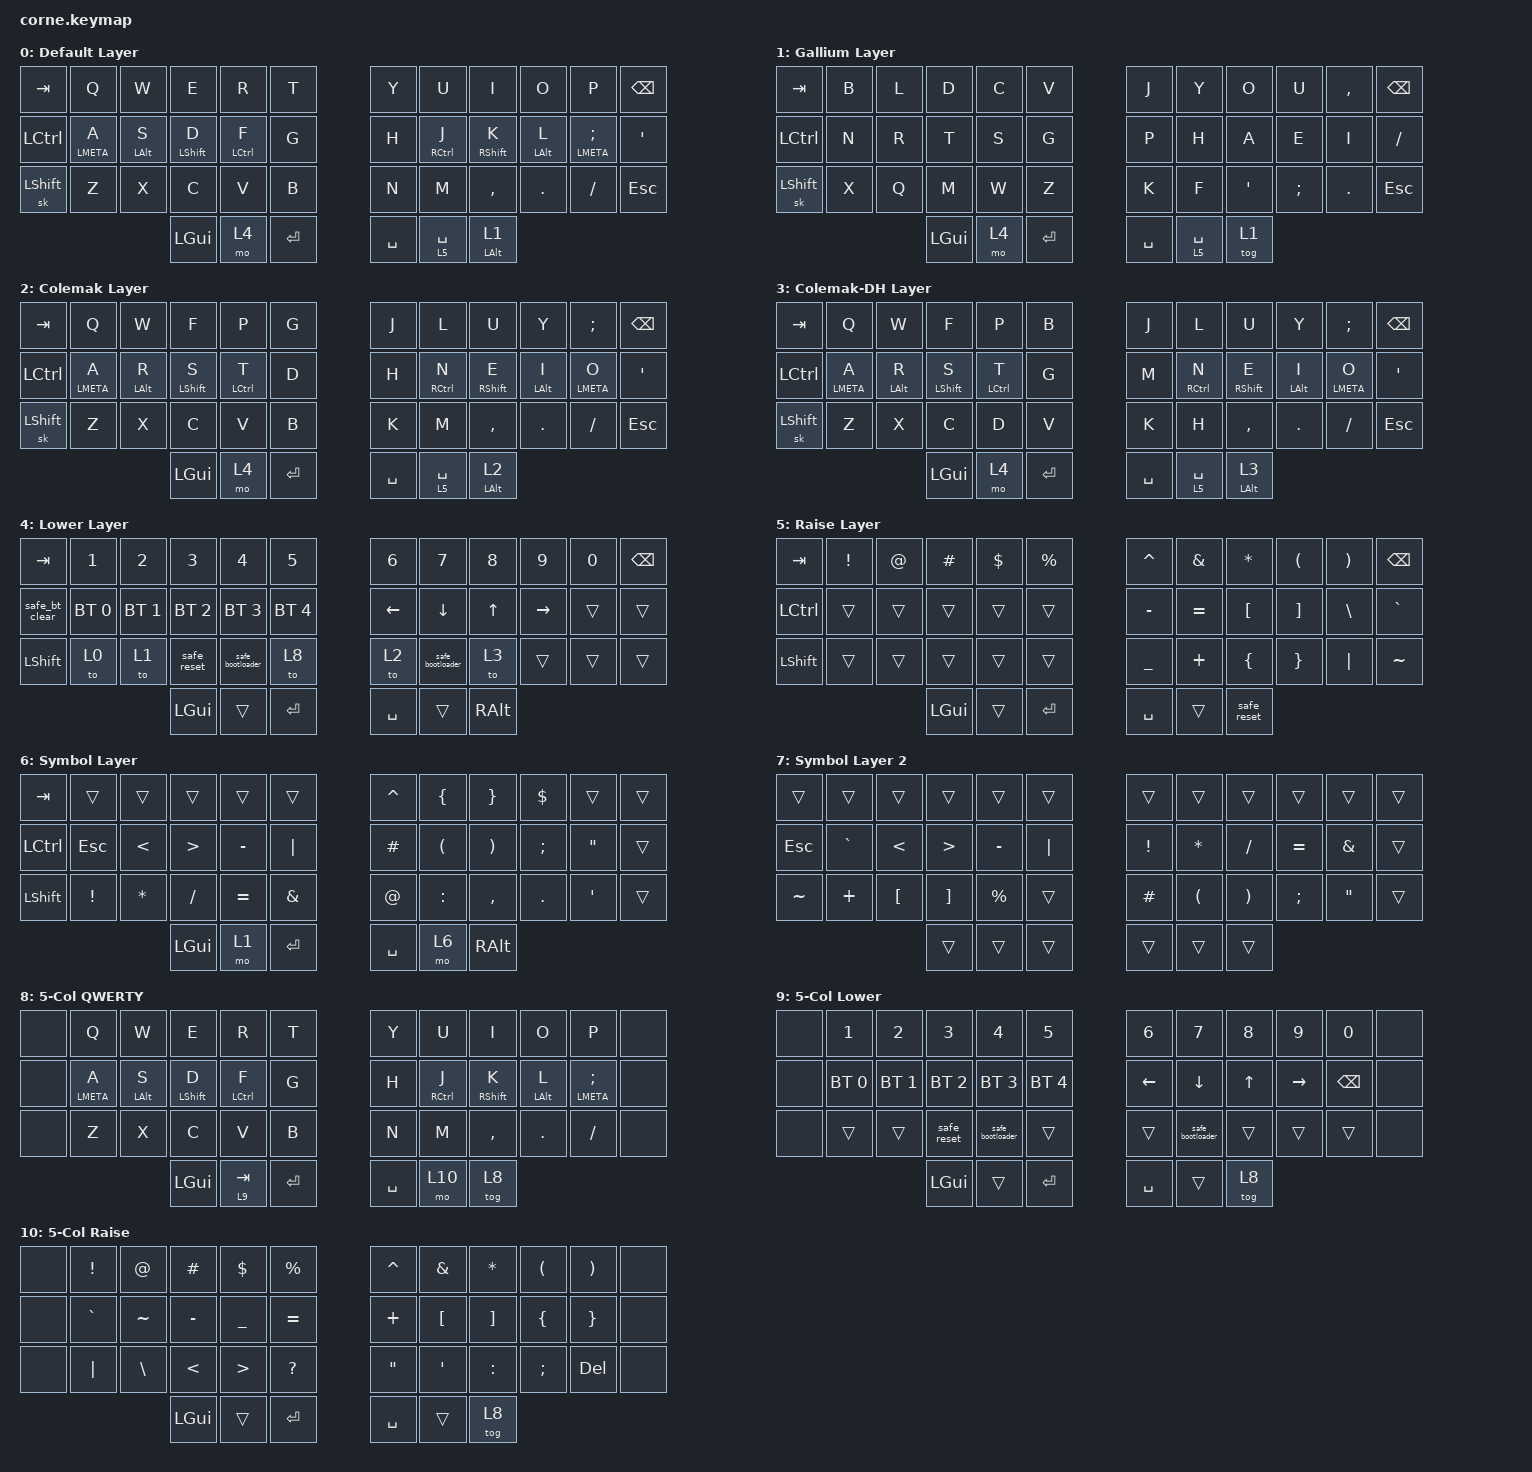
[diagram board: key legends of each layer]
/*
 * Copyright (c) 2020 The ZMK Contributors
 *
 * SPDX-License-Identifier: MIT
 */

#include <zmk-helpers/key-labels/42.h>
#include <behaviors.dtsi>
#include <dt-bindings/zmk/keys.h>
#include <dt-bindings/zmk/bt.h>
#include <dt-bindings/zmk/ext_power.h>

/*                KEY POSITIONS

  ╭─────────────────────╮ ╭─────────────────────╮
  │ LT4 LT3 LT2 LT1 LT0 │ │ RT0 RT1 RT2 RT3 RT4 │
  │ LM4 LM3 LM2 LM1 LM0 │ │ RM0 RM1 RM2 RM3 RM4 │
  │ LB4 LB3 LB2 LB1 LB0 │ │ RB0 RB1 RB2 RB3 RB4 │
  ╰───────╮ LH2 LH1 LH0 │ │ RH0 RH1 RH2 ╭───────╯
          ╰─────────────╯ ╰─────────────╯ */

// view https://github.com/urob/zmk-config/blob/main/config/west.yml

// Shorthand defines for complex key combinations
#define SAFE_BT_CLEAR &destructive_hold &bt_clr_macro 0
#define SAFE_RESET &destructive_hold &sys_reset_macro 0
#define SAFE_BOOTLOADER &destructive_hold &bootloader_macro 0


&sk {
    release-after-ms = <1000>;
    quick-release;
    lazy;
    ignore-modifiers;
};

&mmv {
    acceleration-exponent = <1>;          // 1
    time-to-max-speed-ms = <500>;         // 300
    delay-ms = <0>;                       // 0
};

&lt {
    tapping-term-ms = <170>; // default 200
    flavor = "hold-preferred"; // balanced or hold-preferred or tap-preferred
    quick-tap-ms = <150>;
};


/ {
        macros {
            bt_clr_macro: bt_clr_macro {
                compatible = "zmk,behavior-macro";
                #binding-cells = <0>;
                bindings = <&macro_tap &bt BT_CLR>;
            };

            sys_reset_macro: sys_reset_macro {
                compatible = "zmk,behavior-macro";
                #binding-cells = <0>;
                bindings = <&macro_tap &sys_reset>;
            };

            bootloader_macro: bootloader_macro {
                compatible = "zmk,behavior-macro";
                #binding-cells = <0>;
                bindings = <&macro_tap &bootloader>;
            };
        };

        combos {
            compatible = "zmk,combos";
            // see the key positions in this example: https://github.com/thrly/thrly-corne-zmk/blob/master/config/corne.dtsi
            caps_word {
                bindings = <&caps_word>;
                key-positions = <17 18>;
                layers = <0>;
            };

            esc {
                bindings = <&kp ESCAPE>;
                key-positions = <1 2>;
                layers = <0>;
            };
        };

        behaviors {
            bhm: balanced_homerow_mods {
                compatible = "zmk,behavior-hold-tap";
                #binding-cells = <2>;
                tapping-term-ms = <200>;    // <---[[moderate duration]]
                quick-tap-ms = <0>;
                flavor = "balanced";
                bindings = <&kp>, <&kp>;
            };

            thm: tap_preferred_homerow_mods {
                compatible = "zmk,behavior-hold-tap";
                #binding-cells = <2>;
                tapping-term-ms = <300>;    // <---[[moderate duration]]
                quick-tap-ms = <0>;
                flavor = "tap-preferred";
                bindings = <&kp>, <&kp>;
            };

            destructive_hold: destructive_hold {
                compatible = "zmk,behavior-hold-tap";
                #binding-cells = <2>;
                tapping-term-ms = <2000>;
                flavor = "balanced";
                bindings = <&macro_tap>, <&none>;
            };

            // Test the following later
            safe_reset: safe_reset {
                compatible = "zmk,behavior-mod-morph";
                #binding-cells = <0>;
                bindings = <&none>, <&sys_reset>;
                mods = <(MOD_LSFT|MOD_RSFT)>;
                keep-mods = <0>;
            };

            safe_bootloader: safe_bootloader {
                compatible = "zmk,behavior-mod-morph";
                #binding-cells = <0>;
                bindings = <&none>, <&bootloader>;
                mods = <(MOD_LSFT|MOD_RSFT)>;
                keep-mods = <0>;
            };

            safe_bt_clear: safe_bt_clear {
                compatible = "zmk,behavior-mod-morph";
                #binding-cells = <0>;
                bindings = <&none>, <&bt BT_CLR>;
                mods = <(MOD_LSFT|MOD_RSFT)>;
                keep-mods = <0>;
            };
            // or
            /*
            safe_bt_clear: safe_bt_clear {
                compatible = "zmk,behavior-hold-tap";
                #binding-cells = <0>;
                tapping-term-ms = <2000>;
                flavor = "balanced";
                bindings = <&bt BT_CLR>, <&none>;
            };
            
            safe_reset: safe_reset {
                compatible = "zmk,behavior-hold-tap";
                #binding-cells = <0>;
                tapping-term-ms = <2000>;
                flavor = "balanced";
                bindings = <&sys_reset>, <&none>;
            };
            
            safe_bootloader: safe_bootloader {
                compatible = "zmk,behavior-hold-tap";
                #binding-cells = <0>;
                tapping-term-ms = <2000>;
                flavor = "balanced";
                bindings = <&bootloader>, <&none>;
            };
            */
            // end test
            
            tog1_alt: toggle_layer1_or_alt {
                compatible = "zmk,behavior-hold-tap";
                #binding-cells = <2>;
                tapping-term-ms = <200>;
                quick-tap-ms = <0>;
                flavor = "tap-preferred";
                bindings = <&kp>, <&tog>;
            };
            


        };

        keymap {
                compatible = "zmk,keymap";

                default_layer {
                        display-name = "Default Layer";
// -----------------------------------------------------------------------------------------
// |  TAB |  Q  |  W  |  E  |  R  |  T  |   |  Y  |  U  |  I  |  O  |  P  | BSPC |
// | CTRL |  A  |  S  |  D  |  F  |  G  |   |  H  |  J  |  K  |  L  |  ;  |  '   |
// | SHFT |  Z  |  X  |  C  |  V  |  B  |   |  N  |  M  |  ,  |  .  |  /  | ESC  |
//                    | GUI | LWR | ENT |   | SPC | RSE | t1/alt|
                        bindings = <
 //╭─────────────┬─────────────┬─────────────┬─────────────┬─────────────┬─────────────╮ ╭─────────────┬─────────────┬─────────────┬─────────────┬─────────────┬─────────────╮
    &kp TAB       &kp Q         &kp W         &kp E         &kp R         &kp T            &kp Y         &kp U         &kp I         &kp O         &kp P         &kp BSPC
 //├─────────────┼─────────────┼─────────────┼─────────────┼─────────────┼─────────────┤ ├─────────────┼─────────────┼─────────────┼─────────────┼─────────────┼─────────────┤
    &kp LCTRL     &thm LMETA A  &thm LEFT_ALT S &thm LEFT_SHIFT D &thm LCTRL F &kp G       &kp H         &thm RCTRL J  &thm RIGHT_SHIFT K &thm LEFT_ALT L &thm LMETA SEMICOLON &kp SQT
 //├─────────────┼─────────────┼─────────────┼─────────────┼─────────────┼─────────────┤ ├─────────────┼─────────────┼─────────────┼─────────────┼─────────────┼─────────────┤
    &sk LSHFT     &kp Z         &kp X         &kp C         &kp V         &kp B            &kp N         &kp M         &kp COMMA     &kp DOT       &kp FSLH      &kp ESC
 //╰─────────────┴─────────────┴─────────────┼─────────────┼─────────────┼─────────────┤ ├─────────────┼─────────────┼─────────────┼─────────────┴─────────────┴─────────────╯
                                              &kp LGUI      &mo 4         &kp RET          &kp SPACE     &lt 5 SPACE   &tog1_alt LALT 1
 //                                          ╰─────────────┴─────────────┴─────────────╯ ╰─────────────┴─────────────┴─────────────╯
                        >;
                };
                
                gallium_layer {
                        display-name = "Gallium Layer";
// -----------------------------------------------------------------------------------------
// |  TAB |  B  |  L  |  D  |  C  |  V  |   |  J  |  Y  |  O  |  U  |  ,  | BSPC |
// | CTRL |  N  |  R  |  T  |  S  |  G  |   |  P  |  H  |  A  |  E  |  I  |  /   |
// | SHFT |  X  |  Q  |  M  |  W  |  Z  |   |  K  |  F  |  '  |  ;  |  .  | ESC  |
//                    | GUI | mo4 | ENT |   | SPC | RSE | tog1|
                        bindings = <
 //╭─────────────┬─────────────┬─────────────┬─────────────┬─────────────┬─────────────╮ ╭─────────────┬─────────────┬─────────────┬─────────────┬─────────────┬─────────────╮
    &kp TAB       &kp B         &kp L         &kp D         &kp C         &kp V            &kp J         &kp Y         &kp O         &kp U         &kp COMMA     &kp BSPC
 //├─────────────┼─────────────┼─────────────┼─────────────┼─────────────┼─────────────┤ ├─────────────┼─────────────┼─────────────┼─────────────┼─────────────┼─────────────┤
    &kp LCTRL     &kp N         &kp R         &kp T         &kp S         &kp G            &kp P         &kp H         &kp A         &kp E         &kp I         &kp FSLH
 //├─────────────┼─────────────┼─────────────┼─────────────┼─────────────┼─────────────┤ ├─────────────┼─────────────┼─────────────┼─────────────┼─────────────┼─────────────┤
    &sk LSHFT     &kp X         &kp Q         &kp M         &kp W         &kp Z            &kp K         &kp F         &kp SQT       &kp SEMICOLON &kp DOT       &kp ESC
 //╰─────────────┴─────────────┴─────────────┼─────────────┼─────────────┼─────────────┤ ├─────────────┼─────────────┼─────────────┼─────────────┴─────────────┴─────────────╯
                                              &kp LGUI      &mo 4         &kp RET          &kp SPACE     &lt 5 SPACE   &tog 1
 //                                          ╰─────────────┴─────────────┴─────────────╯ ╰─────────────┴─────────────┴─────────────╯
                        >;
                };

                colemak_layer {
                        display-name = "Colemak Layer";
// -----------------------------------------------------------------------------------------
// |  TAB |  Q  |  W  |  F  |  P  |  G  |   |  J  |  L  |  U  |  Y  |  ;  | BSPC |
// | CTRL |  A  |  R  |  S  |  T  |  D  |   |  H  |  N  |  E  |  I  |  O  |  '   |
// | SHFT |  Z  |  X  |  C  |  V  |  B  |   |  K  |  M  |  ,  |  .  |  /  | ESC  |
//                    | GUI | LWR | ENT |   | SPC | RSE | t1/alt|
                        bindings = <
 //╭─────────────┬─────────────┬─────────────┬─────────────┬─────────────┬─────────────╮ ╭─────────────┬─────────────┬─────────────┬─────────────┬─────────────┬─────────────╮
    &kp TAB       &kp Q         &kp W         &kp F         &kp P         &kp G            &kp J         &kp L         &kp U         &kp Y         &kp SEMICOLON &kp BSPC
 //├─────────────┼─────────────┼─────────────┼─────────────┼─────────────┼─────────────┤ ├─────────────┼─────────────┼─────────────┼─────────────┼─────────────┼─────────────┤
    &kp LCTRL     &thm LMETA A  &thm LEFT_ALT R &thm LEFT_SHIFT S &thm LCTRL T &kp D       &kp H         &thm RCTRL N  &thm RIGHT_SHIFT E &thm LEFT_ALT I &thm LMETA O &kp SQT
 //├─────────────┼─────────────┼─────────────┼─────────────┼─────────────┼─────────────┤ ├─────────────┼─────────────┼─────────────┼─────────────┼─────────────┼─────────────┤
    &sk LSHFT     &kp Z         &kp X         &kp C         &kp V         &kp B            &kp K         &kp M         &kp COMMA     &kp DOT       &kp FSLH      &kp ESC
 //╰─────────────┴─────────────┴─────────────┼─────────────┼─────────────┼─────────────┤ ├─────────────┼─────────────┼─────────────┼─────────────┴─────────────┴─────────────╯
                                              &kp LGUI      &mo 4         &kp RET          &kp SPACE     &lt 5 SPACE   &tog1_alt LALT 2
 //                                          ╰─────────────┴─────────────┴─────────────╯ ╰─────────────┴─────────────┴─────────────╯
                        >;
                };

                colemak_dh_layer {
                        display-name = "Colemak-DH Layer";
// -----------------------------------------------------------------------------------------
// |  TAB |  Q  |  W  |  F  |  P  |  B  |   |  J  |  L  |  U  |  Y  |  ;  | BSPC |
// | CTRL |  A  |  R  |  S  |  T  |  G  |   |  M  |  N  |  E  |  I  |  O  |  '   |
// | SHFT |  Z  |  X  |  C  |  D  |  V  |   |  K  |  H  |  ,  |  .  |  /  | ESC  |
//                    | GUI | LWR | ENT |   | SPC | RSE | t1/alt|
                        bindings = <
 //╭─────────────┬─────────────┬─────────────┬─────────────┬─────────────┬─────────────╮ ╭─────────────┬─────────────┬─────────────┬─────────────┬─────────────┬─────────────╮
    &kp TAB       &kp Q         &kp W         &kp F         &kp P         &kp B            &kp J         &kp L         &kp U         &kp Y         &kp SEMICOLON &kp BSPC
 //├─────────────┼─────────────┼─────────────┼─────────────┼─────────────┼─────────────┤ ├─────────────┼─────────────┼─────────────┼─────────────┼─────────────┼─────────────┤
    &kp LCTRL     &thm LMETA A  &thm LEFT_ALT R &thm LEFT_SHIFT S &thm LCTRL T &kp G       &kp M         &thm RCTRL N  &thm RIGHT_SHIFT E &thm LEFT_ALT I &thm LMETA O &kp SQT
 //├─────────────┼─────────────┼─────────────┼─────────────┼─────────────┼─────────────┤ ├─────────────┼─────────────┼─────────────┼─────────────┼─────────────┼─────────────┤
    &sk LSHFT     &kp Z         &kp X         &kp C         &kp D         &kp V            &kp K         &kp H         &kp COMMA     &kp DOT       &kp FSLH      &kp ESC
 //╰─────────────┴─────────────┴─────────────┼─────────────┼─────────────┼─────────────┤ ├─────────────┼─────────────┼─────────────┼─────────────┴─────────────┴─────────────╯
                                              &kp LGUI      &mo 4         &kp RET          &kp SPACE     &lt 5 SPACE   &tog1_alt LALT 3
 //                                          ╰─────────────┴─────────────┴─────────────╯ ╰─────────────┴─────────────┴─────────────╯
                        >;
                };
                
                lower_layer {
                        display-name = "Lower Layer";
// -----------------------------------------------------------------------------------------
// |  TAB |  1  |  2  |  3  |  4  |  5  |   |  6  |  7  |  8  |  9  |  0  | BSPC |
// | BTCLR| BT1 | BT2 | BT3 | BT4 | BT5 |   | LFT | DWN |  UP | RGT |     |      |
// | SHFT | to0 | to1 | rst | btl | to8 |   | to2 | btl | to3 |     |     |      |
//                    | GUI |     | ENT |   | SPC |     | ALT |
                        bindings = <
 //╭─────────────┬─────────────┬─────────────┬─────────────┬─────────────┬─────────────╮ ╭─────────────┬─────────────┬─────────────┬─────────────┬─────────────┬─────────────╮
    &kp TAB       &kp N1        &kp N2        &kp N3        &kp N4        &kp N5           &kp N6        &kp N7        &kp N8        &kp N9        &kp N0        &kp BSPC
 //├─────────────┼─────────────┼─────────────┼─────────────┼─────────────┼─────────────┤ ├─────────────┼─────────────┼─────────────┼─────────────┼─────────────┼─────────────┤
    &safe_bt_clear &bt BT_SEL 0 &bt BT_SEL 1  &bt BT_SEL 2  &bt BT_SEL 3  &bt BT_SEL 4     &kp LEFT      &kp DOWN      &kp UP        &kp RIGHT     &trans        &trans
 //├─────────────┼─────────────┼─────────────┼─────────────┼─────────────┼─────────────┤ ├─────────────┼─────────────┼─────────────┼─────────────┼─────────────┼─────────────┤
    &kp LSHFT     &to 0         &to 1         &safe_reset   &safe_bootloader &to 8         &to 2         &safe_bootloader &to 3      &trans        &trans        &trans
 //╰─────────────┴─────────────┴─────────────┼─────────────┼─────────────┼─────────────┤ ├─────────────┼─────────────┼─────────────┼─────────────┴─────────────┴─────────────╯
                                              &kp LGUI      &trans        &kp RET          &kp SPACE     &trans        &kp RALT
 //                                          ╰─────────────┴─────────────┴─────────────╯ ╰─────────────┴─────────────┴─────────────╯
                        >;
                };

                raise_layer {
                        display-name = "Raise Layer";
// -----------------------------------------------------------------------------------------
// |  TAB |  !  |  @  |  #  |  $  |  %  |   |  ^  |  &  |  *  |  (  |  )  | BSPC |
// | CTRL |     |     |     |     |     |   |  -  |  =  |  [  |  ]  |  \  |  `   |
// | SHFT |     |     |     |     |     |   |  _  |  +  |  {  |  }  |  |  |  ~   |
//                    | GUI |     | ENT |   | SPC |     | rst |
                        bindings = <
 //╭─────────────┬─────────────┬─────────────┬─────────────┬─────────────┬─────────────╮ ╭─────────────┬─────────────┬─────────────┬─────────────┬─────────────┬─────────────╮
    &kp TAB       &kp EXCL      &kp AT        &kp HASH      &kp DLLR      &kp PRCNT        &kp CARET     &kp AMPS      &kp ASTRK     &kp LPAR      &kp RPAR      &kp BSPC
 //├─────────────┼─────────────┼─────────────┼─────────────┼─────────────┼─────────────┤ ├─────────────┼─────────────┼─────────────┼─────────────┼─────────────┼─────────────┤
    &kp LCTRL     &trans        &trans        &trans        &trans        &trans           &kp MINUS     &kp EQUAL     &kp LBKT      &kp RBKT      &kp BSLH      &kp GRAVE
 //├─────────────┼─────────────┼─────────────┼─────────────┼─────────────┼─────────────┤ ├─────────────┼─────────────┼─────────────┼─────────────┼─────────────┼─────────────┤
    &kp LSHFT     &trans        &trans        &trans        &trans        &trans           &kp UNDER     &kp PLUS      &kp LBRC      &kp RBRC      &kp PIPE      &kp TILDE
 //╰─────────────┴─────────────┴─────────────┼─────────────┼─────────────┼─────────────┤ ├─────────────┼─────────────┼─────────────┼─────────────┴─────────────┴─────────────╯
                                              &kp LGUI      &trans        &kp RET          &kp SPACE     &trans        &safe_reset
 //                                          ╰─────────────┴─────────────┴─────────────╯ ╰─────────────┴─────────────┴─────────────╯
                        >;
                };

                symbol_layer {
                        display-name = "Symbol Layer";
// -----------------------------------------------------------------------------------------
// |  TAB |     |     |     |     |     |   |  ^  |  {  |  }  |  $  |     |      |
// | CTRL | ESC | <   |  >  |  -  |  |  |   |  #  |  (  |  )  |  ;  |  "  |      |
// | SHFT |  !  |  *  |  /  |  =  |  &  |   |  @  |  :  |  ,  |  .  |  '  |      |
//                    | GUI | mo1 | ENT |   | SPC | mo6 | ALT |
                        bindings = <
 //╭─────────────┬─────────────┬─────────────┬─────────────┬─────────────┬─────────────╮ ╭─────────────┬─────────────┬─────────────┬─────────────┬─────────────┬─────────────╮
    &kp TAB       &trans        &trans        &trans        &trans        &trans           &kp CARET     &kp LBRC      &kp RBRC      &kp DLLR      &trans        &trans
 //├─────────────┼─────────────┼─────────────┼─────────────┼─────────────┼─────────────┤ ├─────────────┼─────────────┼─────────────┼─────────────┼─────────────┼─────────────┤
    &kp LCTRL     &kp ESC       &kp LT        &kp GT        &kp MINUS     &kp PIPE         &kp HASH      &kp LPAR      &kp RPAR      &kp SEMI      &kp DQT       &trans
 //├─────────────┼─────────────┼─────────────┼─────────────┼─────────────┼─────────────┤ ├─────────────┼─────────────┼─────────────┼─────────────┼─────────────┼─────────────┤
    &kp LSHFT     &kp EXCL      &kp ASTRK     &kp FSLH      &kp EQUAL     &kp AMPS         &kp AT        &kp COLON     &kp COMMA     &kp DOT       &kp SQT       &trans
 //╰─────────────┴─────────────┴─────────────┼─────────────┼─────────────┼─────────────┤ ├─────────────┼─────────────┼─────────────┼─────────────┴─────────────┴─────────────╯
                                              &kp LGUI      &mo 1         &kp RET          &kp SPACE     &mo 6         &kp RALT
 //                                          ╰─────────────┴─────────────┴─────────────╯ ╰─────────────┴─────────────┴─────────────╯
                        >;
                };

                symbol_layer_2 {
                        display-name = "Symbol Layer 2";
// -----------------------------------------------------------------------------------------
// |      |     |     |     |     |     |   |     |     |     |     |     |      |
// | ESC  |  `  | <   |  >  |  -  |  |  |   |  !  |  *  |  /  |  =  |  &  |      |
// |  ~   |  +  |  [  |  ]  |  %  |     |   |  #  |  (  |  )  |  ;  |  "  |      |
//                    |     |     |     |   |     |     |     |
                        bindings = <
 //╭─────────────┬─────────────┬─────────────┬─────────────┬─────────────┬─────────────╮ ╭─────────────┬─────────────┬─────────────┬─────────────┬─────────────┬─────────────╮
    &trans        &trans        &trans        &trans        &trans        &trans           &trans        &trans        &trans        &trans        &trans        &trans
 //├─────────────┼─────────────┼─────────────┼─────────────┼─────────────┼─────────────┤ ├─────────────┼─────────────┼─────────────┼─────────────┼─────────────┼─────────────┤
    &kp ESC       &kp GRAVE     &kp LT        &kp GT        &kp MINUS     &kp PIPE         &kp EXCL      &kp ASTRK     &kp FSLH      &kp EQUAL     &kp AMPS      &trans
 //├─────────────┼─────────────┼─────────────┼─────────────┼─────────────┼─────────────┤ ├─────────────┼─────────────┼─────────────┼─────────────┼─────────────┼─────────────┤
    &kp TILDE     &kp PLUS      &kp LBKT      &kp RBKT      &kp PRCNT     &trans           &kp HASH      &kp LPAR      &kp RPAR      &kp SEMI      &kp DQT       &trans
 //╰─────────────┴─────────────┴─────────────┼─────────────┼─────────────┼─────────────┤ ├─────────────┼─────────────┼─────────────┼─────────────┴─────────────┴─────────────╯
                                              &trans        &trans        &trans           &trans        &trans        &trans
 //                                          ╰─────────────┴─────────────┴─────────────╯ ╰─────────────┴─────────────┴─────────────╯
                        >;
                };

                qwerty_5col {
                        display-name = "5-Col QWERTY";
// -----------------------------------------------------------------------------------------
// 5-column QWERTY - outer columns are trans to mimic true 5-col keyboard
// |trans |  Q  |  W  |  E  |  R  |  T  |   |  Y  |  U  |  I  |  O  |  P  |trans |
// |trans |  A  |  S  |  D  |  F  |  G  |   |  H  |  J  |  K  |  L  |  ;  |trans |
// |trans |  Z  |  X  |  C  |  V  |  B  |   |  N  |  M  |  ,  |  .  |  /  |trans |
//                    | GUI | LWR | RET |   | SPC | RSE | tog |
                        bindings = <
 //╭─────────────┬─────────────┬─────────────┬─────────────┬─────────────┬─────────────╮ ╭─────────────┬─────────────┬─────────────┬─────────────┬─────────────┬─────────────╮
    &none         &kp Q         &kp W         &kp E         &kp R         &kp T            &kp Y         &kp U         &kp I         &kp O         &kp P         &none
 //├─────────────┼─────────────┼─────────────┼─────────────┼─────────────┼─────────────┤ ├─────────────┼─────────────┼─────────────┼─────────────┼─────────────┼─────────────┤
    &none    &thm LMETA A  &thm LEFT_ALT S &thm LEFT_SHIFT D &thm LCTRL F &kp G           &kp H    &thm RCTRL J  &thm RIGHT_SHIFT K &thm LEFT_ALT L &thm LMETA SEMICOLON      &none
 //├─────────────┼─────────────┼─────────────┼─────────────┼─────────────┼─────────────┤ ├─────────────┼─────────────┼─────────────┼─────────────┼─────────────┼─────────────┤
    &none         &kp Z         &kp X         &kp C         &kp V         &kp B            &kp N         &kp M         &kp COMMA     &kp DOT       &kp FSLH      &none
 //╰─────────────┴─────────────┴─────────────┼─────────────┼─────────────┼─────────────┤ ├─────────────┼─────────────┼─────────────┼─────────────┴─────────────┴─────────────╯
                                              &kp LGUI      &lt 9 TAB     &kp RET          &kp SPACE     &mo 10        &tog 8
 //                                          ╰─────────────┴─────────────┴─────────────╯ ╰─────────────┴─────────────┴─────────────╯
                        >;
                };

                qwerty_5col_lower {
                        display-name = "5-Col Lower";
// -----------------------------------------------------------------------------------------
// 5-column lower layer - outer columns are trans
// |trans |  1  |  2  |  3  |  4  |  5  |   |  6  |  7  |  8  |  9  |  0  |trans |
// |trans | BT1 | BT2 | BT3 | BT4 | BT5 |   | LFT | DWN |  UP | RGT |BSPC |trans |
// |trans |     |     | rst | btl |     |   |     | btl |     |     |     |trans |
//                    | GUI |     | RET |   | SPC |     | tog |
                        bindings = <
 //╭─────────────┬─────────────┬─────────────┬─────────────┬─────────────┬─────────────╮ ╭─────────────┬─────────────┬─────────────┬─────────────┬─────────────┬─────────────╮
    &none         &kp N1        &kp N2        &kp N3        &kp N4        &kp N5           &kp N6        &kp N7        &kp N8        &kp N9        &kp N0        &none
 //├─────────────┼─────────────┼─────────────┼─────────────┼─────────────┼─────────────┤ ├─────────────┼─────────────┼─────────────┼─────────────┼─────────────┼─────────────┤
    &none         &bt BT_SEL 0  &bt BT_SEL 1  &bt BT_SEL 2  &bt BT_SEL 3  &bt BT_SEL 4     &kp LEFT      &kp DOWN      &kp UP        &kp RIGHT     &kp BSPC      &none
 //├─────────────┼─────────────┼─────────────┼─────────────┼─────────────┼─────────────┤ ├─────────────┼─────────────┼─────────────┼─────────────┼─────────────┼─────────────┤
    &none         &trans        &trans        &safe_reset   &safe_bootloader &trans        &trans        &safe_bootloader &trans     &trans        &trans        &none
 //╰─────────────┴─────────────┴─────────────┼─────────────┼─────────────┼─────────────┤ ├─────────────┼─────────────┼─────────────┼─────────────┴─────────────┴─────────────╯
                                              &kp LGUI      &trans        &kp RET          &kp SPACE     &trans        &tog 8
 //                                          ╰─────────────┴─────────────┴─────────────╯ ╰─────────────┴─────────────┴─────────────╯
                        >;
                };

                qwerty_5col_raise {
                        display-name = "5-Col Raise";
// -----------------------------------------------------------------------------------------
// 5-column raise layer - outer columns are trans
// |trans |  !  |  @  |  #  |  $  |  %  |   |  ^  |  &  |  *  |  (  |  )  |trans |
// |trans |  `  |  ~  |  -  |  _  |  =  |   |  +  |  [  |  ]  |  {  |  }  |trans |
// |trans |  |  |  \  |  <  |  >  |  ?  |   |  "  |  '  |  :  |  ;  | DEL |trans |
//                    | GUI |     | RET |   | SPC |     | tog |
                        bindings = <
 //╭─────────────┬─────────────┬─────────────┬─────────────┬─────────────┬─────────────╮ ╭─────────────┬─────────────┬─────────────┬─────────────┬─────────────┬─────────────╮
    &none         &kp EXCL      &kp AT        &kp HASH      &kp DLLR      &kp PRCNT        &kp CARET     &kp AMPS      &kp ASTRK     &kp LPAR      &kp RPAR      &none
 //├─────────────┼─────────────┼─────────────┼─────────────┼─────────────┼─────────────┤ ├─────────────┼─────────────┼─────────────┼─────────────┼─────────────┼─────────────┤
    &none         &kp GRAVE     &kp TILDE     &kp MINUS     &kp UNDER     &kp EQUAL        &kp PLUS      &kp LBKT      &kp RBKT      &kp LBRC      &kp RBRC      &none
 //├─────────────┼─────────────┼─────────────┼─────────────┼─────────────┼─────────────┤ ├─────────────┼─────────────┼─────────────┼─────────────┼─────────────┼─────────────┤
    &none         &kp PIPE      &kp BSLH      &kp LT        &kp GT        &kp QMARK        &kp DQT       &kp SQT       &kp COLON     &kp SEMI      &kp DEL       &none
 //╰─────────────┴─────────────┴─────────────┼─────────────┼─────────────┼─────────────┤ ├─────────────┼─────────────┼─────────────┼─────────────┴─────────────┴─────────────╯
                                              &kp LGUI      &trans        &kp RET          &kp SPACE     &trans        &tog 8
 //                                          ╰─────────────┴─────────────┴─────────────╯ ╰─────────────┴─────────────┴─────────────╯
                        >;
                };
    };
};
